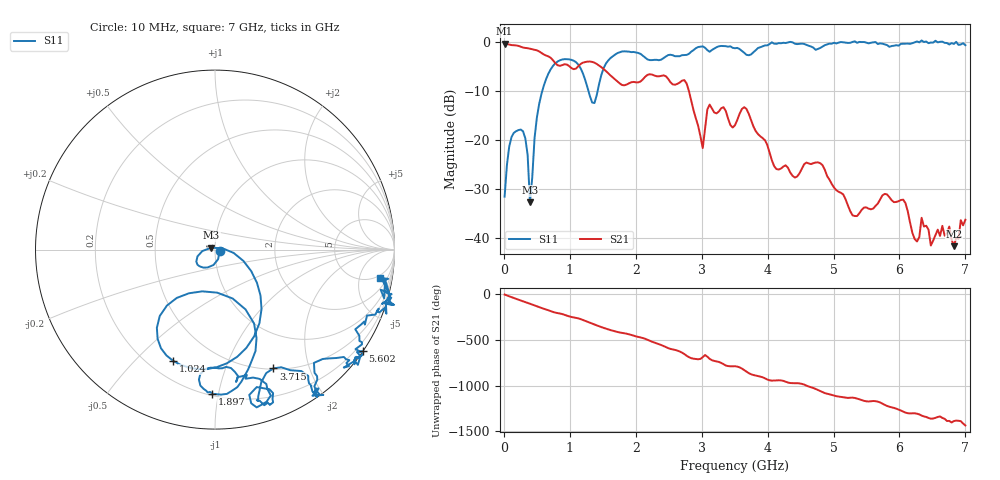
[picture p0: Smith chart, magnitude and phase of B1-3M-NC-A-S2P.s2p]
!File created by NanoVNA
# Hz S RI R 50
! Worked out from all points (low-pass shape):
!   201 points, 10 MHz to 7 GHz, reference 50 ohm
!   highest |S21| = -0.25 dB at 10 MHz (marker M1); lowest = -41.6 dB at 6.825 GHz (marker M2)
!   |S21| within 3 dB of the highest: start of sweep to 715.5 MHz
!   lowest |S11| = -32.6 dB at 394.4 MHz (marker M3), VSWR 1.05, Z = 47.9 + j1.01 ohm
!   |S11| at or under -10 dB: start of sweep to 580.2 MHz; 1.283 GHz to 1.42 GHz (136.8 MHz wide, 10.1 % of centre)
!   S12 and S22 are empty: the file has one direction only
!   S11 on the Smith chart (normalised r, x): 10 MHz: 1.05, -0.02; 1.024 GHz: 0.29, -0.65; 1.897 GHz: 0.21, -0.96; 3.715 GHz: 0.51, -1.48; 5.602 GHz: 0.01, -3.23; 7 GHz: 4, -10
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1e7  0.0251 -0.00901  0.9702 -0.0498  0 0  0 0
7.99e7  -0.00835 -0.0859  0.8785 -0.3568  0 0  0 0
2.5465e8  -0.0978 -0.0838  0.3326 -0.8368  0 0  0 0
3.595e8  -0.0704 -0.00798  -0.0663 -0.8682  0 0  0 0
3.9445e8  -0.0209 0.0105  -0.1991 -0.8364  0 0  0 0
6.0415e8  0.2536 -0.2561  -0.6973 -0.2799  0 0  0 0
1.02355e9  -0.2339 -0.6193  -0.2025 0.5074  0 0  0 0
1.1983e9  -0.3078 -0.3699  0.1176 0.609  0 0  0 0
1.44295e9  0.1702 -0.3334  0.57 0.1024  0 0  0 0
1.8973e9  -0.0158 -0.8029  0.0839 -0.3724  0 0  0 0
2.35165e9  0.0612 -0.6536  -0.4474 0.0429  0 0  0 0
2.77105e9  0.212 -0.7129  0.2549 0.2818  0 0  0 0
3.0157e9  0.2321 -0.8791  0.07 0.0451  0 0  0 0
3.12055e9  0.2323 -0.766  0.2246 0.0557  0 0  0 0
3.505e9  0.2322 -0.8383  0.0563 -0.1312  0 0  0 0
3.7147e9  0.3259 -0.6619  -0.1471 -0.1131  0 0  0 0
4.1341e9  0.577 -0.773  -0.0383 0.0335  0 0  0 0
4.6933e9  0.5544 -0.6862  0.0335 0.0479  0 0  0 0
5.602e9  0.8234 -0.5636  0.00107 -0.0201  0 0  0 0
5.84665e9  0.7816 -0.4439  -0.0227 -0.0133  0 0  0 0
6.82525e9  0.9477 -0.1685  0.0049 0.00673  0 0  0 0
7e9  0.9198 -0.157  0.0154 0.00154  0 0  0 0
